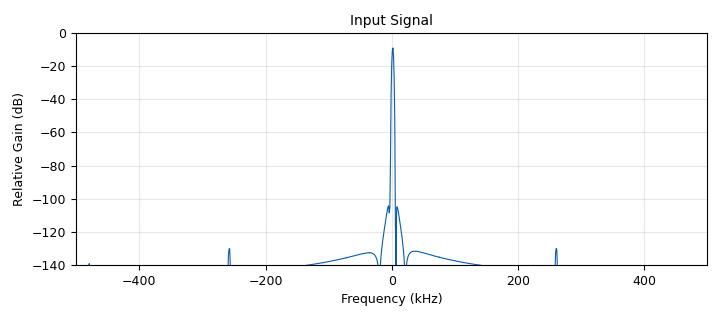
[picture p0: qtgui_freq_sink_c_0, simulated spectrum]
options:
  parameters:
    author: QRadioLink Contributors
    category: '[Examples]'
    comment: M17 digital voice demodulation example
    copyright: Copyright 2024 QRadioLink Contributors
    description: This example demonstrates M17 demodulation using gr-qradiolink. The input should be a complex baseband M17 signal.
    generate_options: qt_gui
    id: m17_demod_example
    output_language: python
    title: M17 Demod Example
  states: {}

blocks:
- name: samp_rate
  id: variable
  parameters:
    comment: Sample rate (typically 1 MHz for M17)
    value: '1000000'
  states: {}
- name: blocks_null_sink_0
  id: blocks_null_sink
  parameters:
    comment: Null sink for filtered output
    type: complex
  states: {}
- name: file_sink_0
  id: blocks_file_sink
  parameters:
    comment: Save decoded M17 data to file
    file: '"/tmp/m17_decoded.bin"'
    type: byte
  states: {}
- name: head_0
  id: blocks_head
  parameters:
    comment: Limit output for testing
    num_items: '10000'
    type: byte
  states: {}
- name: m17_demod
  id: qradiolink_demod_m17
  parameters:
    carrier_freq: '1700'
    comment: M17 Demodulator
    filter_width: '9000'
    samp_rate: samp_rate
    sps: '125'
  states: {}
- name: qtgui_const_sink_c_0
  id: qtgui_const_sink_x
  parameters:
    comment: Constellation display
    name: '"Constellation"'
    size: '1024'
    type: complex
  states: {}
- name: qtgui_freq_sink_c_0
  id: qtgui_freq_sink_x
  parameters:
    bw: samp_rate
    comment: Frequency display of input signal
    fc: '0'
    fftsize: '1024'
    name: '"Input Signal"'
    type: complex
    ymax: '0'
  states: {}
- name: signal_source
  id: analog_sig_source_x
  parameters:
    amp: '1'
    comment: Test signal source (replace with actual M17 signal source)
    freq: '1700'
    offset: '0'
    phase: '0'
    samp_rate: samp_rate
    type: complex
    waveform: analog.GR_SIN_WAVE
  states: {}
- name: throttle
  id: blocks_throttle
  parameters:
    comment: Throttle to prevent excessive CPU usage
    samples_per_second: samp_rate
    type: complex
  states: {}

connections:
- [head_0, '0', file_sink_0, '0']
- [m17_demod, '0', blocks_null_sink_0, '0']
- [m17_demod, '1', qtgui_const_sink_c_0, '0']
- [m17_demod, '2', head_0, '0']
- [signal_source, '0', throttle, '0']
- [throttle, '0', m17_demod, '0']
- [throttle, '0', qtgui_freq_sink_c_0, '0']

metadata:
  file_format: 1
  grc_version: 3.10.12.0
